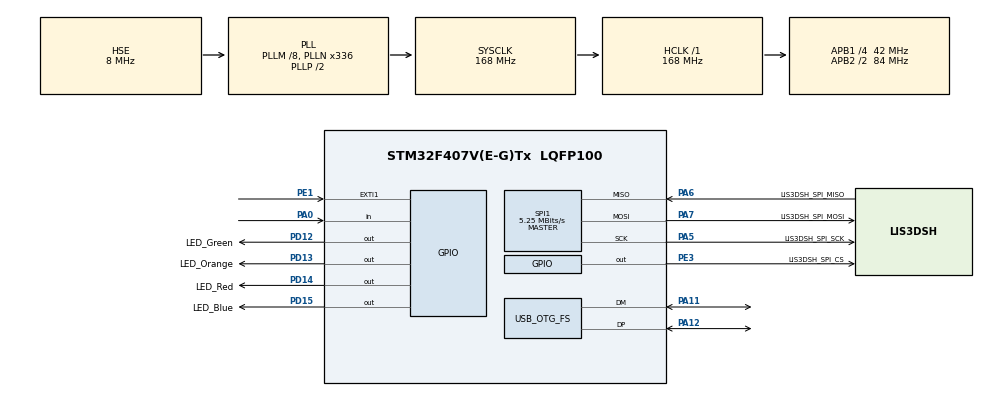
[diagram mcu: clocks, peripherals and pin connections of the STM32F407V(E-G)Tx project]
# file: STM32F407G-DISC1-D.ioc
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Mcu.Family=STM32F4
Mcu.Name=STM32F407V(E-G)Tx
Mcu.Package=LQFP100
NVIC.OTG_FS_IRQn=true\:0\:0\:false\:false\:true\:false\:true\:true
NVIC.PriorityGroup=NVIC_PRIORITYGROUP_4
PA0-WKUP.Signal=GPIO_Input
PA11.Mode=Device_Only
PA11.Signal=USB_OTG_FS_DM
PA12.Mode=Device_Only
PA12.Signal=USB_OTG_FS_DP
PA13.Mode=Trace_Asynchronous_SW
PA13.Signal=SYS_JTMS-SWDIO
PA14.Mode=Trace_Asynchronous_SW
PA14.Signal=SYS_JTCK-SWCLK
PA5.GPIO_Label=LIS3DSH_SPI_SCK
PA5.Mode=Full_Duplex_Master
PA5.Signal=SPI1_SCK
PA6.GPIO_Label=LIS3DSH_SPI_MISO
PA6.Mode=Full_Duplex_Master
PA6.Signal=SPI1_MISO
PA7.GPIO_Label=LIS3DSH_SPI_MOSI
PA7.Mode=Full_Duplex_Master
PA7.Signal=SPI1_MOSI
PB3.Mode=Trace_Asynchronous_SW
PB3.Signal=SYS_JTDO-SWO
PD12.GPIO_Label=LED_Green
PD12.Signal=GPIO_Output
PD13.GPIO_Label=LED_Orange
PD13.Signal=GPIO_Output
PD14.GPIO_Label=LED_Red
PD14.Signal=GPIO_Output
PD15.GPIO_Label=LED_Blue
PD15.Signal=GPIO_Output
PE1.Signal=GPXTI1
PE3.GPIO_Label=LIS3DSH_SPI_CS
PE3.Signal=GPIO_Output
PH0-OSC_IN.Mode=HSE-External-Clock-Source
PH0-OSC_IN.Signal=RCC_OSC_IN
PH1-OSC_OUT.Mode=HSE-External-Clock-Source
PH1-OSC_OUT.Signal=RCC_OSC_OUT
ProjectManager.HeapSize=0x200
ProjectManager.StackSize=0x800
ProjectManager.TargetToolchain=MDK-ARM V5.32
RCC.48MHZClocksFreq_Value=48000000
RCC.AHBFreq_Value=168000000
RCC.APB1CLKDivider=RCC_HCLK_DIV4
RCC.APB1Freq_Value=42000000
RCC.APB1TimFreq_Value=84000000
RCC.APB2CLKDivider=RCC_HCLK_DIV2
RCC.APB2Freq_Value=84000000
RCC.APB2TimFreq_Value=168000000
RCC.CortexFreq_Value=168000000
RCC.HCLKFreq_Value=168000000
RCC.HSE_VALUE=8000000
RCC.HSI_VALUE=16000000
RCC.LSE_VALUE=32768
RCC.PLLM=8
RCC.PLLN=336
RCC.PLLQ=7
RCC.SYSCLKFreq_VALUE=168000000
RCC.SYSCLKSource=RCC_SYSCLKSOURCE_PLLCLK
RCC.VCOOutputFreq_Value=336000000
SPI1.BaudRatePrescaler=SPI_BAUDRATEPRESCALER_16
SPI1.CalculateBaudRate=5.25 MBits/s
SPI1.Direction=SPI_DIRECTION_2LINES
SPI1.Mode=SPI_MODE_MASTER
SPI1.VirtualType=VM_MASTER
USB_DEVICE.CLASS_NAME_FS=HID
USB_DEVICE.VirtualMode-HID_FS=Hid
USB_DEVICE.VirtualModeFS=Hid_FS
USB_OTG_FS.VirtualMode=Device_Only
VP_USB_DEVICE_VS_USB_DEVICE_HID_FS.Mode=HID_FS
board=custom

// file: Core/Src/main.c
/* USER CODE BEGIN Header */
/**
  ******************************************************************************
  * @file           : main.c
  * @brief          : Main program body
  ******************************************************************************
  * @attention
  *
  * Copyright (c) 2022 STMicroelectronics.
  * All rights reserved.
  *
  * This software is licensed under terms that can be found in the LICENSE file
  * in the root directory of this software component.
  * If no LICENSE file comes with this software, it is provided AS-IS.
  *
  ******************************************************************************
  */
/* USER CODE END Header */
#include "main.h"
#include "usb_device.h"

/* USER CODE BEGIN Includes */
# include "usbd_hid.h"
# include "LIS3DSH.H"
/* USER CODE END Includes */

/* USER CODE BEGIN PTD */
typedef struct
{
	uint8_t Button;
	int8_t X;
	int8_t Y;
	int8_t Wheel;
}MouseHID;
/* USER CODE END PTD */

/* USER CODE BEGIN PM */
extern USBD_HandleTypeDef hUsbDeviceFS;
MouseHID HIDData = {0,0,0,0};
int ACCX,ACCY;
int TriggerThreshold=100;
float Scale=0.025;
/* USER CODE END PM */

 SPI_HandleTypeDef hspi1;

void SystemClock_Config(void);
static void MX_GPIO_Init(void);
static void MX_SPI1_Init(void);

int main(void)
{
  /* USER CODE BEGIN 1 */
  unsigned char UserKeyStatus=0;
  unsigned char LastUserKeyStatus=0;
  unsigned char UserKeyHIDSatatus=0;
  unsigned char LastUserKeyHIDSatatus=0;
  /* USER CODE END 1 */

  /* MCU Configuration--------------------------------------------------------*/

  /* Reset of all peripherals, Initializes the Flash interface and the Systick. */
  HAL_Init();

  /* Configure the system clock */
  SystemClock_Config();

  /* Initialize all configured peripherals */
  MX_GPIO_Init();
  MX_USB_DEVICE_Init();
  MX_SPI1_Init();
  /* USER CODE BEGIN 2 */

  LIS3DSH_Init();
  /* USER CODE END 2 */

  /* Infinite loop */
  while (1)
  {

    /* USER CODE BEGIN 3 */
    HAL_Delay(10);
    ACCX=LIS3DSH_ReadX();
    ACCY=LIS3DSH_ReadY();
    UserKeyStatus=HAL_GPIO_ReadPin(GPIOA,GPIO_PIN_0);
    if(ACCX<-TriggerThreshold)
    {
     HAL_GPIO_WritePin(LED_Green_GPIO_Port, LED_Green_Pin,GPIO_PIN_SET);
     HAL_GPIO_WritePin(LED_Red_GPIO_Port, LED_Red_Pin,GPIO_PIN_RESET);
    }
    else if(ACCX>TriggerThreshold)
    {
     HAL_GPIO_WritePin(LED_Green_GPIO_Port, LED_Green_Pin,GPIO_PIN_RESET);
     HAL_GPIO_WritePin(LED_Red_GPIO_Port, LED_Red_Pin,GPIO_PIN_SET);
    }
    else
    {
     HAL_GPIO_WritePin(LED_Green_GPIO_Port, LED_Green_Pin,GPIO_PIN_RESET);
     HAL_GPIO_WritePin(LED_Red_GPIO_Port, LED_Red_Pin,GPIO_PIN_RESET);
    }

    if(ACCY<-TriggerThreshold)
    {
     HAL_GPIO_WritePin(LED_Orange_GPIO_Port, LED_Orange_Pin,GPIO_PIN_RESET);
     HAL_GPIO_WritePin(LED_Blue_GPIO_Port, LED_Blue_Pin,GPIO_PIN_SET);
    }
    else if(ACCY>TriggerThreshold)
    {
     HAL_GPIO_WritePin(LED_Orange_GPIO_Port, LED_Orange_Pin,GPIO_PIN_SET);
     HAL_GPIO_WritePin(LED_Blue_GPIO_Port, LED_Blue_Pin,GPIO_PIN_RESET);
    }
    else
    {
     HAL_GPIO_WritePin(LED_Orange_GPIO_Port, LED_Orange_Pin,GPIO_PIN_RESET);
     HAL_GPIO_WritePin(LED_Blue_GPIO_Port, LED_Blue_Pin,GPIO_PIN_RESET);
    }

    if(ACCX<-TriggerThreshold || ACCX>TriggerThreshold) HIDData.Y=-1*ACCX*Scale;
    else HIDData.Y=0;
    if(ACCY<-TriggerThreshold || ACCY>TriggerThreshold) HIDData.X=-1*ACCY*Scale;
    else HIDData.X=0;

    if(HAL_GPIO_ReadPin(GPIOA,GPIO_PIN_0)==1)
    {
     UserKeyStatus++;
     if(UserKeyStatus>=2)
     {
      UserKeyHIDSatatus=1;
      UserKeyStatus=2;
     }
    }
    else
    {
     UserKeyStatus=0;
     UserKeyHIDSatatus=0;
    }
    if(LastUserKeyHIDSatatus!=UserKeyHIDSatatus)
    {
     HIDData.Button = UserKeyHIDSatatus; //left click = 1; right click = 2
    }

    LastUserKeyHIDSatatus=UserKeyHIDSatatus;
    USBD_HID_SendReport(&hUsbDeviceFS, (uint8_t*)&HIDData, sizeof(MouseHID));

  }
  /* USER CODE END 3 */
}

void SystemClock_Config(void)
{
  RCC_OscInitTypeDef RCC_OscInitStruct = {0};
  RCC_ClkInitTypeDef RCC_ClkInitStruct = {0};

  /** Configure the main internal regulator output voltage
  */
  __HAL_RCC_PWR_CLK_ENABLE();
  __HAL_PWR_VOLTAGESCALING_CONFIG(PWR_REGULATOR_VOLTAGE_SCALE1);

  /** Initializes the RCC Oscillators according to the specified parameters
  * in the RCC_OscInitTypeDef structure.
  */
  RCC_OscInitStruct.OscillatorType = RCC_OSCILLATORTYPE_HSE;
  RCC_OscInitStruct.HSEState = RCC_HSE_BYPASS;
  RCC_OscInitStruct.PLL.PLLState = RCC_PLL_ON;
  RCC_OscInitStruct.PLL.PLLSource = RCC_PLLSOURCE_HSE;
  RCC_OscInitStruct.PLL.PLLM = 8;
  RCC_OscInitStruct.PLL.PLLN = 336;
  RCC_OscInitStruct.PLL.PLLP = RCC_PLLP_DIV2;
  RCC_OscInitStruct.PLL.PLLQ = 7;
  if (HAL_RCC_OscConfig(&RCC_OscInitStruct) != HAL_OK)
  {
    Error_Handler();
  }

  /** Initializes the CPU, AHB and APB buses clocks
  */
  RCC_ClkInitStruct.ClockType = RCC_CLOCKTYPE_HCLK|RCC_CLOCKTYPE_SYSCLK
                              |RCC_CLOCKTYPE_PCLK1|RCC_CLOCKTYPE_PCLK2;
  RCC_ClkInitStruct.SYSCLKSource = RCC_SYSCLKSOURCE_PLLCLK;
  RCC_ClkInitStruct.AHBCLKDivider = RCC_SYSCLK_DIV1;
  RCC_ClkInitStruct.APB1CLKDivider = RCC_HCLK_DIV4;
  RCC_ClkInitStruct.APB2CLKDivider = RCC_HCLK_DIV2;

  if (HAL_RCC_ClockConfig(&RCC_ClkInitStruct, FLASH_LATENCY_5) != HAL_OK)
  {
    Error_Handler();
  }
}

static void MX_SPI1_Init(void)
{

  /* SPI1 parameter configuration*/
  hspi1.Instance = SPI1;
  hspi1.Init.Mode = SPI_MODE_MASTER;
  hspi1.Init.Direction = SPI_DIRECTION_2LINES;
  hspi1.Init.DataSize = SPI_DATASIZE_8BIT;
  hspi1.Init.CLKPolarity = SPI_POLARITY_LOW;
  hspi1.Init.CLKPhase = SPI_PHASE_1EDGE;
  hspi1.Init.NSS = SPI_NSS_SOFT;
  hspi1.Init.BaudRatePrescaler = SPI_BAUDRATEPRESCALER_16;
  hspi1.Init.FirstBit = SPI_FIRSTBIT_MSB;
  hspi1.Init.TIMode = SPI_TIMODE_DISABLE;
  hspi1.Init.CRCCalculation = SPI_CRCCALCULATION_DISABLE;
  hspi1.Init.CRCPolynomial = 10;
  if (HAL_SPI_Init(&hspi1) != HAL_OK)
  {
    Error_Handler();
  }

}

static void MX_GPIO_Init(void)
{
  GPIO_InitTypeDef GPIO_InitStruct = {0};

  /* GPIO Ports Clock Enable */
  __HAL_RCC_GPIOE_CLK_ENABLE();
  __HAL_RCC_GPIOH_CLK_ENABLE();
  __HAL_RCC_GPIOA_CLK_ENABLE();
  __HAL_RCC_GPIOD_CLK_ENABLE();
  __HAL_RCC_GPIOB_CLK_ENABLE();

  /*Configure GPIO pin Output Level */
  HAL_GPIO_WritePin(LIS3DSH_SPI_CS_GPIO_Port, LIS3DSH_SPI_CS_Pin, GPIO_PIN_RESET);

  /*Configure GPIO pin Output Level */
  HAL_GPIO_WritePin(GPIOD, LED_Green_Pin|LED_Orange_Pin|LED_Red_Pin|LED_Blue_Pin, GPIO_PIN_RESET);

  /*Configure GPIO pin : LIS3DSH_SPI_CS_Pin */
  GPIO_InitStruct.Pin = LIS3DSH_SPI_CS_Pin;
  GPIO_InitStruct.Mode = GPIO_MODE_OUTPUT_PP;
  GPIO_InitStruct.Pull = GPIO_NOPULL;
  GPIO_InitStruct.Speed = GPIO_SPEED_FREQ_LOW;
  HAL_GPIO_Init(LIS3DSH_SPI_CS_GPIO_Port, &GPIO_InitStruct);

  /*Configure GPIO pin : PA0 */
  GPIO_InitStruct.Pin = GPIO_PIN_0;
  GPIO_InitStruct.Mode = GPIO_MODE_INPUT;
  GPIO_InitStruct.Pull = GPIO_NOPULL;
  HAL_GPIO_Init(GPIOA, &GPIO_InitStruct);

  /*Configure GPIO pins : LED_Green_Pin LED_Orange_Pin LED_Red_Pin LED_Blue_Pin */
  GPIO_InitStruct.Pin = LED_Green_Pin|LED_Orange_Pin|LED_Red_Pin|LED_Blue_Pin;
  GPIO_InitStruct.Mode = GPIO_MODE_OUTPUT_PP;
  GPIO_InitStruct.Pull = GPIO_NOPULL;
  GPIO_InitStruct.Speed = GPIO_SPEED_FREQ_LOW;
  HAL_GPIO_Init(GPIOD, &GPIO_InitStruct);

  /*Configure GPIO pin : PE1 */
  GPIO_InitStruct.Pin = GPIO_PIN_1;
  GPIO_InitStruct.Mode = GPIO_MODE_IT_RISING;
  GPIO_InitStruct.Pull = GPIO_NOPULL;
  HAL_GPIO_Init(GPIOE, &GPIO_InitStruct);

}

void Error_Handler(void)
{
  __disable_irq();
  while (1)
  {
  }
}
